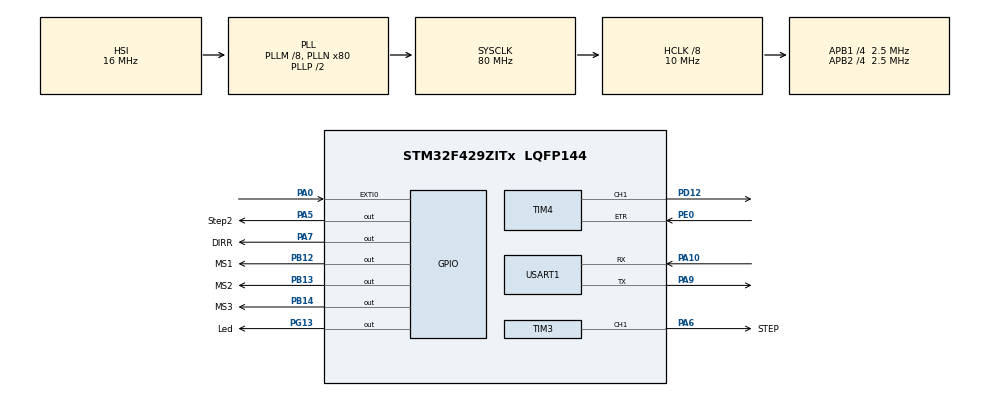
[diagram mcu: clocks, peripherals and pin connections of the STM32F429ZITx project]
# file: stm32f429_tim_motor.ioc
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Mcu.Family=STM32F4
RCC.CortexFreq_Value=10000000
PB14.GPIO_Label=MS3
PA0/WKUP.Signal=GPXTI0
PA6.GPIO_Label=STEP
PB13.GPIO_Label=MS2
PB13.Signal=GPIO_Output
PG13.Signal=GPIO_Output
RCC.SYSCLKSource=RCC_SYSCLKSOURCE_PLLCLK
ProjectManager.StackSize=0x400
PH0/OSC_IN.Mode=HSE-External-Oscillator
RCC.HCLKFreq_Value=10000000
RCC.APB2TimFreq_Value=5000000
TIM3.Period=1000
PH1/OSC_OUT.Signal=RCC_OSC_OUT
RCC.AHBFreq_Value=10000000
TIM3.ClockDivision=TIM_CLOCKDIVISION_DIV1
RCC.HSE_VALUE=8000000
PB12.GPIO_Label=MS1
PA14.Mode=Serial_Wire
TIM3.Prescaler=0
NVIC.TIM2_IRQn=true\:0\:0\:false\:false\:true\:true\:true
TIM4.Channel-Output\ Compare1\ CH1=TIM_CHANNEL_1
SH.S_TIM3_CH1.0=TIM3_CH1,Output Compare1 CH1
PH1/OSC_OUT.Mode=HSE-External-Oscillator
Mcu.Package=LQFP144
TIM2.Prescaler=250-1
PA6.Signal=S_TIM3_CH1
PD12.Signal=S_TIM4_CH1
PA10.Signal=USART1_RX
RCC.APB2CLKDivider=RCC_HCLK_DIV4
SH.S_TIM4_CH1.0=TIM4_CH1,Output Compare1 CH1
RCC.APB1TimFreq_Value=5000000
VP_TIM3_VS_ClockSourceINT.Mode=Internal
PA10.Mode=Asynchronous
SH.S_TIM4_ETR.0=TIM4_ETR,ClockSourceETR_Mode2
TIM3.AutoReloadPreload=TIM_AUTORELOAD_PRELOAD_ENABLE
RCC.APB1CLKDivider=RCC_HCLK_DIV4
PG13.GPIO_Label=Led
PA13.Signal=SYS_JTMS-SWDIO
PA9.Mode=Asynchronous
ProjectManager.TargetToolchain=MDK-ARM V5.27
PA9.Signal=USART1_TX
RCC.LSE_VALUE=32768
TIM3.Channel-Output\ Compare1\ CH1=TIM_CHANNEL_1
PB14.Signal=GPIO_Output
PA5.Signal=GPIO_Output
board=custom
RCC.VCOOutputFreq_Value=160000000
PH0/OSC_IN.Signal=RCC_OSC_IN
RCC.APB2Freq_Value=2500000
TIM3.OCMode_1=TIM_OCMODE_FORCED_ACTIVE
VP_TIM2_VS_ClockSourceINT.Mode=Internal
RCC.AHBCLKDivider=RCC_SYSCLK_DIV8
TIM2.Period=20000-1
PA13.Mode=Serial_Wire
Mcu.Name=STM32F429ZITx
PE0.Signal=S_TIM4_ETR
RCC.48MHZClocksFreq_Value=40000000
NVIC.EXTI0_IRQn=true\:0\:0\:false\:false\:true\:true\:true
RCC.SYSCLKFreq_VALUE=80000000
PA7.GPIO_Label=DIRR
PA5.GPIO_Label=Step2
USART1.VirtualMode=VM_ASYNC
PA14.Signal=SYS_JTCK-SWCLK
ProjectManager.HeapSize=0x200
RCC.HSI_VALUE=16000000
NVIC.PriorityGroup=NVIC_PRIORITYGROUP_4
RCC.PLLM=8
RCC.PLLN=80
TIM3.TIM_MasterOutputTrigger=TIM_TRGO_UPDATE
RCC.APB1Freq_Value=2500000
PB12.Signal=GPIO_Output
PA7.Signal=GPIO_Output

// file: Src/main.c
/* USER CODE BEGIN Header */
/**
  ******************************************************************************
  * @file           : main.c
  * @brief          : Main program body
  ******************************************************************************
  * @attention
  *
  * <h2><center>&copy; Copyright (c) 2020 STMicroelectronics.
  * All rights reserved.</center></h2>
  *
  * This software component is licensed by ST under BSD 3-Clause license,
  * the "License"; You may not use this file except in compliance with the
  * License. You may obtain a copy of the License at:
  *                        opensource.org/licenses/BSD-3-Clause
  *
  ******************************************************************************
  */
/* USER CODE END Header */
#include "main.h"

/* USER CODE BEGIN Includes */
#include "motor_v1.h"
/* USER CODE END Includes */

/* USER CODE BEGIN PTD */
#ifdef __GNUC__						//Printf function
  /* With GCC, small printf (option LD Linker->Libraries->Small printf
     set to 'Yes') calls __io_putchar() */
  #define PUTCHAR_PROTOTYPE int __io_putchar(int ch)
#else
  #define PUTCHAR_PROTOTYPE int fputc(int ch, FILE *f)
#endif /* __GNUC__ */

	#ifdef __GNUC__
#define GETCHAR_PROTOTYPE int __io_getchar (void)
#else
#define GETCHAR_PROTOTYPE int fgetc(FILE * f)
#endif /* __GNUC__ */
/* USER CODE END PTD */

TIM_HandleTypeDef htim2;
TIM_HandleTypeDef htim3;
TIM_HandleTypeDef htim4;

UART_HandleTypeDef huart1;

void SystemClock_Config(void);
static void MX_GPIO_Init(void);
static void MX_TIM3_Init(void);
static void MX_TIM2_Init(void);
static void MX_USART1_UART_Init(void);
static void MX_TIM4_Init(void);

/* USER CODE BEGIN 0 */
//*************************Vals
uint16_t Count=0;
uint32_t SysFreq=5000000;
uint16_t Frequency=0;
uint16_t Arr=0;
uint16_t Psc=0;
uint16_t select=0;

uint16_t milliLiter, timSec, direcT = 0;
char mode[10];
//*************************UART
uint16_t UARTmenuBuff[1]={'0'};
uint8_t UARTmenuScale=0;
int UARTSetmenu=0;
uint8_t UARTSetmenuScale=0;

int UARTmenu;
int UARTtime, UARTdistance, UARTdirection;
//*************************Functions
void SetFrequency(uint16_t Freq){

	//Fpwm = Sys / (65536*(Psc+1))---> Psc+1 = sys/(fpwm*65536)
	Freq=Freq*2;
	Arr=(SysFreq/Freq)-1;
	TIM3->CCMR1= TIM_OCMODE_TOGGLE;
	if(Arr > 65535){
	Psc = (SysFreq/(Freq*65536))-1;
	Arr=65535;
	TIM3->ARR = Arr;
	TIM3->CCR1 = (Arr*5)/10;

	TIM3->PSC=Psc;
	}
	else{

	TIM3->PSC = 0;
	TIM3->ARR = Arr;
	TIM3->CCR1 = (Arr*5)/10;
	}
}

void Set(uint16_t Revolution, uint16_t Speed){
	int Rps=0;

	while(Count <= Speed)
	{
		//1rps = 3200Hz
		Rps=(Revolution*3200)/Speed;
		SetFrequency(Rps);

	}
	TIM3->CCR1=0;
	Count=0;
}
void fusion(uint8_t milimeter, uint8_t seconds, uint8_t direction){ // 1. Volume, 2. Time, 3. Mode
	float abc=0;
	select=1;
	// 2milimeter = 1 revolution
	if(direction == 1){
		HAL_GPIO_WritePin(DIRR_GPIO_Port, DIRR_Pin, GPIO_PIN_SET);
		strcpy(mode, "Re-Load");
	}
	else if(direction == 2){
		HAL_GPIO_WritePin(DIRR_GPIO_Port, DIRR_Pin, GPIO_PIN_RESET);
		strcpy(mode, "Inject");
	}
	else{
		select=0;
		TIM3->CCR1=0;
		Count=0;
	}
	while( Count < seconds){
		HAL_TIM_OC_Start(&htim3, TIM_CHANNEL_1);
		select=1;
		abc= (milimeter*1600) / seconds;
		SetFrequency(abc);
	}
	select=0;
	TIM3->CCR1=0;
	Count=0;
	//SetFrequency(0);
	HAL_TIM_OC_Stop(&htim3, TIM_CHANNEL_1);

}

void UARTupMenu(){
		if(UARTmenu==1){
			//***For entering the SetMenu(s)*****...gets UARTSetmenu input but doesn't wait........
			printf("\n\n\rFusion Set Menu:\n\r1.setVolume\n\r2.setTime\n\r3.setDirection\n\r4.Exit\n\t");
			memset(&UARTSetmenu, '\0', sizeof(UARTSetmenu));
			HAL_UART_Receive(&huart1, (uint8_t *)&UARTSetmenuScale, 1, 0xFFFF);
			UARTSetmenu=UARTSetmenuScale-48;
			//*************************************************************************************
			if(UARTSetmenu==1)//Set Volume
			{
				//***Menu for setting the Volume (Milli liter)********************
				printf("\n\rEnter Volume: ");
				scanf("%d",&UARTdistance);
				milliLiter = UARTdistance;
				printf("\nVolume set to: %d\n",milliLiter);	//Prints set volume
				UARTSetmenu++;																//Goes to the next menu automatically
			}

			if(UARTSetmenu==2)//Set Distance
			{
				//***Menu for setting the distance (milimeter)*****************
				printf("\n\rEnter Time: ");
				scanf("%d",&UARTtime);
				timSec = UARTtime;
				printf("\nTime set to: %d\n",timSec);	//Prints set time and distance
				UARTSetmenu++;																//Goes to the next menu automatically
			}
			if(UARTSetmenu==3)//Set Direction
			{
				//***Menu for setting the direction (CW - CCW)*****************
				printf("\n\rEnter Direction 1(re-load) or 2(injection): ");
				scanf("%d",&UARTdirection);
				direcT = UARTdirection;
				printf("\nDirection set to: %d\n", direcT);	//Prints set time and distance
				if(direcT == 1){ strcpy(mode, "Re-Load"); }
				if(direcT == 2){ strcpy(mode, "Inject"); }
				//Prints the fusion to the screen:
				printf("\n\rFusion: ON, Volume: %d, Time: %d, Mode: %s\n\r", milliLiter, timSec, mode);

				UARTSetmenu++;																//Goes to the next menu automatically
			}
			if(UARTSetmenu==4)//Exit
			{
				//***Exit Menu for making the Clock ON********************
				UARTmenu=0;
				printf("\n\rExit Settings, Fusion:ON\n\n\r");
				printf("\rMenu: ");
			}

		}
		else if(UARTmenu==2){ //Emergancy Stop
			printf("Emergancy Stop: ON");
			HAL_TIM_OC_Stop(&htim3, TIM_CHANNEL_1);
			UARTmenu=0;
		}
		else{
		//If anything comes except UARTmenu tabs, it becomes 0, and fusion continues..
		UARTmenu=0;
		}
}

/* USER CODE END 0 */

int main(void)
{

  /* MCU Configuration--------------------------------------------------------*/

  /* Reset of all peripherals, Initializes the Flash interface and the Systick. */
  HAL_Init();

  /* Configure the system clock */
  SystemClock_Config();

  /* Initialize all configured peripherals */
  MX_GPIO_Init();
  MX_TIM3_Init();
  MX_TIM2_Init();
  MX_USART1_UART_Init();
  MX_TIM4_Init();
  /* USER CODE BEGIN 2 */
	HAL_TIM_Base_Start_IT(&htim2);
	HAL_TIM_OC_Start(&htim3, TIM_CHANNEL_1);

	HAL_GPIO_WritePin(MS1_GPIO_Port, MS1_Pin| MS2_Pin| MS3_Pin, GPIO_PIN_SET);	//micro step: 1/16 step
	HAL_GPIO_WritePin(DIRR_GPIO_Port, DIRR_Pin, GPIO_PIN_SET);	//set direction to Pull
	printf("\rInfusion pump is gettin ready.\n");
	HAL_Delay(5000);
	printf("\rMenu: ");
	//fusion(1,4,2);
	jumpback:
	memset(&UARTSetmenu, '\0', sizeof(UARTmenuScale));
	HAL_UART_Receive(&huart1, (uint8_t *)&UARTmenuScale, 1, 0xFFFF);
	UARTmenu=UARTmenuScale-48;

	if (UARTmenu == 1 || UARTmenu == 2){ goto jump; }

  /* USER CODE END 2 */

  /* Infinite loop */
  while (1)
  {

    /* USER CODE BEGIN 3 */

		}
	jump:
		UARTupMenu();

		if(UARTmenu == 0){
			fusion(milliLiter, timSec, direcT);		// fusion
			goto jumpback;
		}

  /* USER CODE END 3 */
}

void SystemClock_Config(void)
{
  RCC_OscInitTypeDef RCC_OscInitStruct = {0};
  RCC_ClkInitTypeDef RCC_ClkInitStruct = {0};

  /** Configure the main internal regulator output voltage
  */
  __HAL_RCC_PWR_CLK_ENABLE();
  __HAL_PWR_VOLTAGESCALING_CONFIG(PWR_REGULATOR_VOLTAGE_SCALE3);
  /** Initializes the RCC Oscillators according to the specified parameters
  * in the RCC_OscInitTypeDef structure.
  */
  RCC_OscInitStruct.OscillatorType = RCC_OSCILLATORTYPE_HSI;
  RCC_OscInitStruct.HSIState = RCC_HSI_ON;
  RCC_OscInitStruct.HSICalibrationValue = RCC_HSICALIBRATION_DEFAULT;
  RCC_OscInitStruct.PLL.PLLState = RCC_PLL_ON;
  RCC_OscInitStruct.PLL.PLLSource = RCC_PLLSOURCE_HSI;
  RCC_OscInitStruct.PLL.PLLM = 8;
  RCC_OscInitStruct.PLL.PLLN = 80;
  RCC_OscInitStruct.PLL.PLLP = RCC_PLLP_DIV2;
  RCC_OscInitStruct.PLL.PLLQ = 4;
  if (HAL_RCC_OscConfig(&RCC_OscInitStruct) != HAL_OK)
  {
    Error_Handler();
  }
  /** Initializes the CPU, AHB and APB buses clocks
  */
  RCC_ClkInitStruct.ClockType = RCC_CLOCKTYPE_HCLK|RCC_CLOCKTYPE_SYSCLK
                              |RCC_CLOCKTYPE_PCLK1|RCC_CLOCKTYPE_PCLK2;
  RCC_ClkInitStruct.SYSCLKSource = RCC_SYSCLKSOURCE_PLLCLK;
  RCC_ClkInitStruct.AHBCLKDivider = RCC_SYSCLK_DIV8;
  RCC_ClkInitStruct.APB1CLKDivider = RCC_HCLK_DIV4;
  RCC_ClkInitStruct.APB2CLKDivider = RCC_HCLK_DIV4;

  if (HAL_RCC_ClockConfig(&RCC_ClkInitStruct, FLASH_LATENCY_0) != HAL_OK)
  {
    Error_Handler();
  }
}

static void MX_TIM2_Init(void)
{

  TIM_ClockConfigTypeDef sClockSourceConfig = {0};
  TIM_MasterConfigTypeDef sMasterConfig = {0};

  htim2.Instance = TIM2;
  htim2.Init.Prescaler = 250-1;
  htim2.Init.CounterMode = TIM_COUNTERMODE_UP;
  htim2.Init.Period = 20000-1;
  htim2.Init.ClockDivision = TIM_CLOCKDIVISION_DIV1;
  htim2.Init.AutoReloadPreload = TIM_AUTORELOAD_PRELOAD_DISABLE;
  if (HAL_TIM_Base_Init(&htim2) != HAL_OK)
  {
    Error_Handler();
  }
  sClockSourceConfig.ClockSource = TIM_CLOCKSOURCE_INTERNAL;
  if (HAL_TIM_ConfigClockSource(&htim2, &sClockSourceConfig) != HAL_OK)
  {
    Error_Handler();
  }
  sMasterConfig.MasterOutputTrigger = TIM_TRGO_RESET;
  sMasterConfig.MasterSlaveMode = TIM_MASTERSLAVEMODE_DISABLE;
  if (HAL_TIMEx_MasterConfigSynchronization(&htim2, &sMasterConfig) != HAL_OK)
  {
    Error_Handler();
  }

}

static void MX_TIM3_Init(void)
{

  TIM_ClockConfigTypeDef sClockSourceConfig = {0};
  TIM_MasterConfigTypeDef sMasterConfig = {0};
  TIM_OC_InitTypeDef sConfigOC = {0};

  htim3.Instance = TIM3;
  htim3.Init.Prescaler = 0;
  htim3.Init.CounterMode = TIM_COUNTERMODE_UP;
  htim3.Init.Period = 1000;
  htim3.Init.ClockDivision = TIM_CLOCKDIVISION_DIV1;
  htim3.Init.AutoReloadPreload = TIM_AUTORELOAD_PRELOAD_ENABLE;
  if (HAL_TIM_Base_Init(&htim3) != HAL_OK)
  {
    Error_Handler();
  }
  sClockSourceConfig.ClockSource = TIM_CLOCKSOURCE_INTERNAL;
  if (HAL_TIM_ConfigClockSource(&htim3, &sClockSourceConfig) != HAL_OK)
  {
    Error_Handler();
  }
  if (HAL_TIM_OC_Init(&htim3) != HAL_OK)
  {
    Error_Handler();
  }
  sMasterConfig.MasterOutputTrigger = TIM_TRGO_UPDATE;
  sMasterConfig.MasterSlaveMode = TIM_MASTERSLAVEMODE_DISABLE;
  if (HAL_TIMEx_MasterConfigSynchronization(&htim3, &sMasterConfig) != HAL_OK)
  {
    Error_Handler();
  }
  sConfigOC.OCMode = TIM_OCMODE_FORCED_ACTIVE;
  sConfigOC.Pulse = 0;
  sConfigOC.OCPolarity = TIM_OCPOLARITY_HIGH;
  sConfigOC.OCFastMode = TIM_OCFAST_DISABLE;
  if (HAL_TIM_OC_ConfigChannel(&htim3, &sConfigOC, TIM_CHANNEL_1) != HAL_OK)
  {
    Error_Handler();
  }
  HAL_TIM_MspPostInit(&htim3);

}

static void MX_TIM4_Init(void)
{

  TIM_ClockConfigTypeDef sClockSourceConfig = {0};
  TIM_MasterConfigTypeDef sMasterConfig = {0};
  TIM_OC_InitTypeDef sConfigOC = {0};

  htim4.Instance = TIM4;
  htim4.Init.Prescaler = 0;
  htim4.Init.CounterMode = TIM_COUNTERMODE_UP;
  htim4.Init.Period = 65535;
  htim4.Init.ClockDivision = TIM_CLOCKDIVISION_DIV1;
  htim4.Init.AutoReloadPreload = TIM_AUTORELOAD_PRELOAD_DISABLE;
  if (HAL_TIM_Base_Init(&htim4) != HAL_OK)
  {
    Error_Handler();
  }
  sClockSourceConfig.ClockSource = TIM_CLOCKSOURCE_ETRMODE2;
  sClockSourceConfig.ClockPolarity = TIM_CLOCKPOLARITY_NONINVERTED;
  sClockSourceConfig.ClockPrescaler = TIM_CLOCKPRESCALER_DIV1;
  sClockSourceConfig.ClockFilter = 0;
  if (HAL_TIM_ConfigClockSource(&htim4, &sClockSourceConfig) != HAL_OK)
  {
    Error_Handler();
  }
  if (HAL_TIM_OC_Init(&htim4) != HAL_OK)
  {
    Error_Handler();
  }
  sMasterConfig.MasterOutputTrigger = TIM_TRGO_RESET;
  sMasterConfig.MasterSlaveMode = TIM_MASTERSLAVEMODE_DISABLE;
  if (HAL_TIMEx_MasterConfigSynchronization(&htim4, &sMasterConfig) != HAL_OK)
  {
    Error_Handler();
  }
  sConfigOC.OCMode = TIM_OCMODE_TIMING;
  sConfigOC.Pulse = 0;
  sConfigOC.OCPolarity = TIM_OCPOLARITY_HIGH;
  sConfigOC.OCFastMode = TIM_OCFAST_DISABLE;
  if (HAL_TIM_OC_ConfigChannel(&htim4, &sConfigOC, TIM_CHANNEL_1) != HAL_OK)
  {
    Error_Handler();
  }
  HAL_TIM_MspPostInit(&htim4);

}

static void MX_USART1_UART_Init(void)
{

  huart1.Instance = USART1;
  huart1.Init.BaudRate = 115200;
  huart1.Init.WordLength = UART_WORDLENGTH_8B;
  huart1.Init.StopBits = UART_STOPBITS_1;
  huart1.Init.Parity = UART_PARITY_NONE;
  huart1.Init.Mode = UART_MODE_TX_RX;
  huart1.Init.HwFlowCtl = UART_HWCONTROL_NONE;
  huart1.Init.OverSampling = UART_OVERSAMPLING_16;
  if (HAL_UART_Init(&huart1) != HAL_OK)
  {
    Error_Handler();
  }

}

static void MX_GPIO_Init(void)
{
  GPIO_InitTypeDef GPIO_InitStruct = {0};

  /* GPIO Ports Clock Enable */
  __HAL_RCC_GPIOH_CLK_ENABLE();
  __HAL_RCC_GPIOA_CLK_ENABLE();
  __HAL_RCC_GPIOB_CLK_ENABLE();
  __HAL_RCC_GPIOD_CLK_ENABLE();
  __HAL_RCC_GPIOG_CLK_ENABLE();
  __HAL_RCC_GPIOE_CLK_ENABLE();

  /*Configure GPIO pin Output Level */
  HAL_GPIO_WritePin(GPIOA, Step2_Pin|DIRR_Pin, GPIO_PIN_RESET);

  /*Configure GPIO pin Output Level */
  HAL_GPIO_WritePin(GPIOB, MS1_Pin|MS2_Pin|MS3_Pin, GPIO_PIN_RESET);

  /*Configure GPIO pin Output Level */
  HAL_GPIO_WritePin(Led_GPIO_Port, Led_Pin, GPIO_PIN_RESET);

  /*Configure GPIO pin : PA0 */
  GPIO_InitStruct.Pin = GPIO_PIN_0;
  GPIO_InitStruct.Mode = GPIO_MODE_IT_RISING;
  GPIO_InitStruct.Pull = GPIO_NOPULL;
  HAL_GPIO_Init(GPIOA, &GPIO_InitStruct);

  /*Configure GPIO pins : Step2_Pin DIRR_Pin */
  GPIO_InitStruct.Pin = Step2_Pin|DIRR_Pin;
  GPIO_InitStruct.Mode = GPIO_MODE_OUTPUT_PP;
  GPIO_InitStruct.Pull = GPIO_NOPULL;
  GPIO_InitStruct.Speed = GPIO_SPEED_FREQ_LOW;
  HAL_GPIO_Init(GPIOA, &GPIO_InitStruct);

  /*Configure GPIO pins : MS1_Pin MS2_Pin MS3_Pin */
  GPIO_InitStruct.Pin = MS1_Pin|MS2_Pin|MS3_Pin;
  GPIO_InitStruct.Mode = GPIO_MODE_OUTPUT_PP;
  GPIO_InitStruct.Pull = GPIO_NOPULL;
  GPIO_InitStruct.Speed = GPIO_SPEED_FREQ_LOW;
  HAL_GPIO_Init(GPIOB, &GPIO_InitStruct);

  /*Configure GPIO pin : Led_Pin */
  GPIO_InitStruct.Pin = Led_Pin;
  GPIO_InitStruct.Mode = GPIO_MODE_OUTPUT_PP;
  GPIO_InitStruct.Pull = GPIO_NOPULL;
  GPIO_InitStruct.Speed = GPIO_SPEED_FREQ_LOW;
  HAL_GPIO_Init(Led_GPIO_Port, &GPIO_InitStruct);

  /* EXTI interrupt init*/
  HAL_NVIC_SetPriority(EXTI0_IRQn, 0, 0);
  HAL_NVIC_EnableIRQ(EXTI0_IRQn);

}

/* USER CODE BEGIN 4 */
PUTCHAR_PROTOTYPE									//printf def to uart
{
  /* Place your implementation of fputc here */
  /* e.g. write a character to the EVAL_COM1 and Loop until the end of transmission */
  HAL_UART_Transmit(&huart1, (uint8_t *)&ch, 1, 0xFFFF);
  return ch;
}

GETCHAR_PROTOTYPE
{
  uint8_t ch = 0;
  // Clear the Overrun flag just before receiving the first character
  __HAL_UART_CLEAR_OREFLAG(&huart1);

  HAL_UART_Receive(&huart1, (uint8_t *)&ch, 1, 0xFFFF);
  //HAL_UART_Transmit(&huart1, (uint8_t *)&ch, 1, 0xFFFF);
  return ch;
}

void HAL_TIM_PeriodElapsedCallback(TIM_HandleTypeDef *htim)
{
  /* Prevent unused argument(s) compilation warning */
  UNUSED(htim);

  /* NOTE : This function should not be modified, when the callback is needed,
            the HAL_TIM_PeriodElapsedCallback could be implemented in the user file
   */

	if(htim->Instance == TIM2) //01. sec
  {
		Count+=select;
		HAL_GPIO_TogglePin(Led_GPIO_Port, Led_Pin);
//		printf("\n\rNope, :%d", Count);
//		HAL_UART_Transmit(&huart1, (uint8_t *)"Go", 3, 50);
//		//UARTmenu=1;//UARTmenuScale-48;
//		if(UARTmenu==1){
//			UARTupMenu();
//			Count=0;
//		}
//		else {
//			printf(" not");
//		}
	}

}
void HAL_GPIO_EXTI_Callback(uint16_t GPIO_Pin)
{
  /* Prevent unused argument(s) compilation warning */
  UNUSED(GPIO_Pin);
  /* NOTE: This function Should not be modified, when the callback is needed,
           the HAL_GPIO_EXTI_Callback could be implemented in the user file
   */
	if(HAL_GPIO_ReadPin(GPIOA, GPIO_PIN_0)){
	//HAL_GPIO_WritePin(GPIOA, STEP_Pin, GPIO_PIN_RESET);
		TIM3->CCR1=0;
	}
}
/* USER CODE END 4 */

void Error_Handler(void)
{
}

/************************ (C) COPYRIGHT STMicroelectronics *****END OF FILE****/
